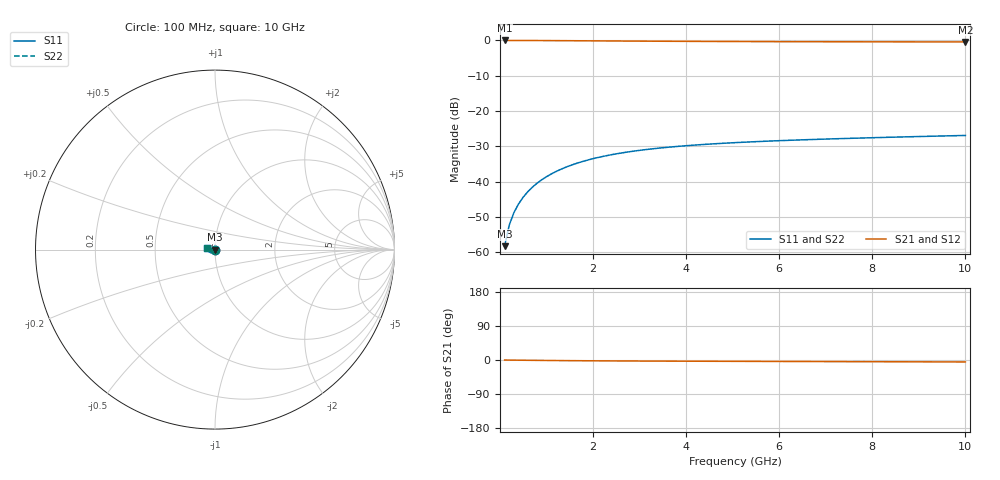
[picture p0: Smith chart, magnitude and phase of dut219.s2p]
! Touchstone file exported from HFSS 2024.1.0
!  File:  C:/UserFiles/LocalFiles/RDL_TSV_Batchsim/temp_TSV1_219_1778767092.aedt
!  Generated:  10:04:09 PM May 14, 2026
!  Design:  TSV1
!  Project:  temp_TSV1_219_1778767092
!  Setup:  Setup1
!  Solution:  Sweep
! Variables:
!  dtsv = 10.6um
!  hbump = 3um
!  htsv = 78.81um
!  lrdl = 252.1521522um
!  p = 40
!  p1 = 57.07um
!  t = 500um
!  trdl = 3um
!  wrdl = 24.89489489um
# GHz S MA R 50.000000
! Terminal data exported
! Port[1] = TSV22_T1
! Port[2] = TSV22_T2
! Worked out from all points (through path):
!   100 points, 100 MHz to 10 GHz, reference 50 ohm
!   highest |S21| = 0.00 dB at 100 MHz (marker M1); lowest = -0.4 dB at 10 GHz (marker M2)
!   lowest |S11| = -58.2 dB at 100 MHz (marker M3), VSWR 1.00, Z = 50 - j0.122 ohm
!   |S11| at or under -10 dB: start of sweep to end of sweep
!   |S22| runs from -58.2 to -26.9 dB; largest |S21 - S12| = 2.4e-15
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0.1  0.001223 -86.1  0.9998 -0.1  0.9998 -0.1  0.001223 -86.1
! Gamma 0 0 0 0
! Port Impedance 50 0 50 0
0.2  0.002437 -90.9  0.9997 -0.3  0.9997 -0.3  0.002437 -90.9
0.3  0.00365 -93.9  0.9995 -0.4  0.9995 -0.4  0.00365 -93.9
0.4  0.004858 -96.3  0.9991 -0.5  0.9991 -0.5  0.004858 -96.3
0.5  0.006056 -98.6  0.9987 -0.6  0.9987 -0.6  0.006056 -98.6
0.6  0.007239 -100.8  0.9983 -0.8  0.9983 -0.8  0.007239 -100.8
0.7  0.008406 -103.0  0.9977 -0.9  0.9977 -0.9  0.008406 -103.0
0.8  0.009552 -105.0  0.9971 -1.0  0.9971 -1.0  0.009552 -105.0
0.9  0.01068 -107.0  0.9965 -1.1  0.9965 -1.1  0.01068 -107.0
1.1  0.01285 -111.0  0.995 -1.3  0.995 -1.3  0.01285 -111.0
1.4  0.0159 -116.6  0.9925 -1.6  0.9925 -1.6  0.0159 -116.6
1.6  0.01778 -120.1  0.9907 -1.8  0.9907 -1.8  0.01778 -120.1
1.8  0.01955 -123.5  0.9889 -2.0  0.9889 -2.0  0.01955 -123.5
2.1  0.02197 -128.3  0.9861 -2.2  0.9861 -2.2  0.02197 -128.3
2.5  0.02481 -134.2  0.9824 -2.5  0.9824 -2.5  0.02481 -134.2
2.9  0.02725 -139.6  0.9789 -2.7  0.9789 -2.7  0.02725 -139.6
3.4  0.02981 -145.7  0.975 -2.9  0.975 -2.9  0.02981 -145.7
4.2  0.03307 -154.2  0.9698 -3.2  0.9698 -3.2  0.03307 -154.2
5.1  0.03588 -162.2  0.9652 -3.6  0.9652 -3.6  0.03587 -162.2
6.7  0.03958 -173.8  0.9595 -4.1  0.9595 -4.1  0.03958 -173.8
8.4  0.04264 176.3  0.9557 -4.6  0.9557 -4.6  0.04264 176.3
10  0.04518 168.6  0.9532 -5.2  0.9532 -5.2  0.04518 168.6
